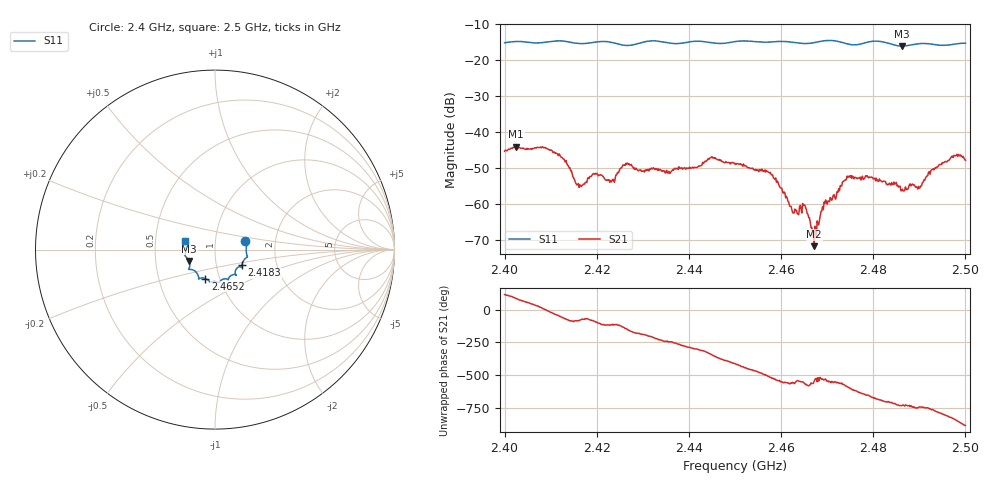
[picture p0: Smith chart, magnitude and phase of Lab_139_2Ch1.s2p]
# Hz S RI R 50
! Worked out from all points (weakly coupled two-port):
!   601 points, 2.4 GHz to 2.5 GHz, reference 50 ohm
!   highest |S21| = -44.03 dB at 2.4025 GHz (marker M1); lowest = -71.7 dB at 2.4672 GHz (marker M2)
!   lowest |S11| = -16.1 dB at 2.4862 GHz (marker M3), VSWR 1.37, Z = 37.2 - j4.87 ohm
!   |S11| at or under -10 dB: start of sweep to end of sweep
!   S12 and S22 are empty: the file has one direction only
!   S11 on the Smith chart (normalised r, x): 2.4 GHz: 1.40, +0.14; 2.4183 GHz: 1.33, -0.24; 2.4652 GHz: 0.85, -0.28; 2.5 GHz: 0.71, +0.07
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2.4e9  0.1681 0.0472  -0.00237 0.00489  0 0  0 0
2.4025e9  0.1788 0.0345  0.000435 0.00627  0 0  0 0
2.4115e9  0.1811 -0.0399  0.00368 -0.00332  0 0  0 0
2.416667e9  0.1556 -0.0679  0.000432 -0.00171  0 0  0 0
2.418333e9  0.1502 -0.0864  0.000581 -0.0022  0 0  0 0
2.423333e9  0.1473 -0.0967  -0.000793 -0.002  0 0  0 0
2.4265e9  0.1222 -0.1035  -0.00301 -0.00196  0 0  0 0
2.433333e9  0.1171 -0.1415  -0.00211 0.00227  0 0  0 0
2.445167e9  0.0609 -0.1629  0.00428 0.000939  0 0  0 0
2.45e9  0.0257 -0.1793  0.0022 -0.00297  0 0  0 0
2.457333e9  -0.0113 -0.1779  -0.00243 -0.00132  0 0  0 0
2.462333e9  -0.0333 -0.175  -0.000788 0.000306  0 0  0 0
2.465167e9  -0.0544 -0.1614  -0.000875 0.000416  0 0  0 0
2.466667e9  -0.0706 -0.1578  -0.000435 0.000186  0 0  0 0
2.467167e9  -0.0757 -0.158  -0.000258 3.74e-05  0 0  0 0
2.469333e9  -0.0895 -0.1629  -0.00107 -7.32e-05  0 0  0 0
2.474667e9  -0.0986 -0.1343  -0.00139 0.00201  0 0  0 0
2.483333e9  -0.1417 -0.0966  0.0018 0.000553  0 0  0 0
2.486167e9  -0.1431 -0.0639  0.0015 -0.00037  0 0  0 0
2.49e9  -0.1657 -0.0369  0.00153 -0.000668  0 0  0 0
2.497333e9  -0.1634 0.0295  -0.00167 -0.00414  0 0  0 0
2.5e9  -0.1656 0.0474  -0.00392 -0.00108  0 0  0 0
